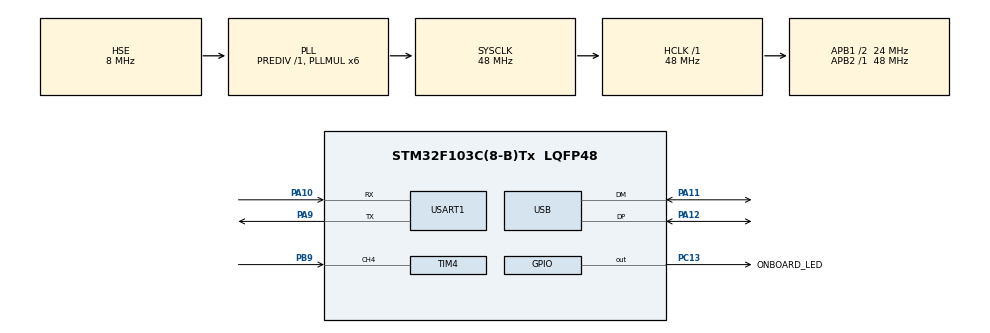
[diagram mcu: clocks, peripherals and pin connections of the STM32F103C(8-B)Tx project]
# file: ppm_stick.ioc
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Mcu.Family=STM32F1
Mcu.Name=STM32F103C(8-B)Tx
Mcu.Package=LQFP48
NVIC.PriorityGroup=NVIC_PRIORITYGROUP_4
NVIC.TIM4_IRQn=true\:0\:0\:false\:false\:true
NVIC.USB_LP_CAN1_RX0_IRQn=true\:0\:0\:false\:false\:true
PA10.Mode=Asynchronous
PA10.Signal=USART1_RX
PA11.Mode=Device
PA11.Signal=USB_DM
PA12.Mode=Device
PA12.Signal=USB_DP
PA13.Mode=Serial_Wire
PA13.Signal=SYS_JTMS-SWDIO
PA14.Mode=Serial_Wire
PA14.Signal=SYS_JTCK-SWCLK
PA9.Mode=Asynchronous
PA9.Signal=USART1_TX
PB9.Signal=S_TIM4_CH4
PC13-TAMPER-RTC.GPIO_Label=ONBOARD_LED
PC13-TAMPER-RTC.PinState=GPIO_PIN_SET
PC13-TAMPER-RTC.Signal=GPIO_Output
PD0-OSC_IN.Mode=HSE-External-Oscillator
PD0-OSC_IN.Signal=RCC_OSC_IN
PD1-OSC_OUT.Mode=HSE-External-Oscillator
PD1-OSC_OUT.Signal=RCC_OSC_OUT
ProjectManager.HeapSize=0x200
ProjectManager.StackSize=0x400
ProjectManager.TargetToolchain=SW4STM32
RCC.AHBFreq_Value=48000000
RCC.APB1CLKDivider=RCC_HCLK_DIV2
RCC.APB1Freq_Value=24000000
RCC.APB1TimFreq_Value=48000000
RCC.APB2Freq_Value=48000000
RCC.APB2TimFreq_Value=48000000
RCC.HCLKFreq_Value=48000000
RCC.PLLMUL=RCC_PLL_MUL6
RCC.PLLSourceVirtual=RCC_PLLSOURCE_HSE
RCC.SYSCLKFreq_VALUE=48000000
RCC.SYSCLKSource=RCC_SYSCLKSOURCE_PLLCLK
RCC.USBFreq_Value=48000000
SH.S_TIM4_CH4.0=TIM4_CH4,Input_Capture4_from_TI4
TIM4.Channel-Input_Capture4_from_TI4=TIM_CHANNEL_4
TIM4.ICPolarity_CH4=TIM_INPUTCHANNELPOLARITY_RISING
TIM4.Period=65535
TIM4.Prescaler=48
USART1.VirtualMode=VM_ASYNC
USB_DEVICE.CLASS_NAME_FS=HID
USB_DEVICE.VirtualMode=Hid
USB_DEVICE.VirtualModeFS=Hid_FS
VP_TIM4_VS_ClockSourceINT.Mode=Internal
VP_USB_DEVICE_VS_USB_DEVICE_HID_FS.Mode=HID_FS
board=ppm_stick

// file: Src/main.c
/**
  ******************************************************************************
  * File Name          : main.c
  * Description        : Main program body
  ******************************************************************************
  * This notice applies to any and all portions of this file
  * that are not between comment pairs USER CODE BEGIN and
  * USER CODE END. Other portions of this file, whether
  * inserted by the user or by software development tools
  * are owned by their respective copyright owners.
  *
  * Copyright (c) 2017 STMicroelectronics International N.V.
  * All rights reserved.
  *
  * Redistribution and use in source and binary forms, with or without
  * modification, are permitted, provided that the following conditions are met:
  *
  * 1. Redistribution of source code must retain the above copyright notice,
  *    this list of conditions and the following disclaimer.
  * 2. Redistributions in binary form must reproduce the above copyright notice,
  *    this list of conditions and the following disclaimer in the documentation
  *    and/or other materials provided with the distribution.
  * 3. Neither the name of STMicroelectronics nor the names of other
  *    contributors to this software may be used to endorse or promote products
  *    derived from this software without specific written permission.
  * 4. This software, including modifications and/or derivative works of this
  *    software, must execute solely and exclusively on microcontroller or
  *    microprocessor devices manufactured by or for STMicroelectronics.
  * 5. Redistribution and use of this software other than as permitted under
  *    this license is void and will automatically terminate your rights under
  *    this license.
  *
  * THIS SOFTWARE IS PROVIDED BY STMICROELECTRONICS AND CONTRIBUTORS "AS IS"
  * AND ANY EXPRESS, IMPLIED OR STATUTORY WARRANTIES, INCLUDING, BUT NOT
  * LIMITED TO, THE IMPLIED WARRANTIES OF MERCHANTABILITY, FITNESS FOR A
  * PARTICULAR PURPOSE AND NON-INFRINGEMENT OF THIRD PARTY INTELLECTUAL PROPERTY
  * RIGHTS ARE DISCLAIMED TO THE FULLEST EXTENT PERMITTED BY LAW. IN NO EVENT
  * SHALL STMICROELECTRONICS OR CONTRIBUTORS BE LIABLE FOR ANY DIRECT, INDIRECT,
  * INCIDENTAL, SPECIAL, EXEMPLARY, OR CONSEQUENTIAL DAMAGES (INCLUDING, BUT NOT
  * LIMITED TO, PROCUREMENT OF SUBSTITUTE GOODS OR SERVICES; LOSS OF USE, DATA,
  * OR PROFITS; OR BUSINESS INTERRUPTION) HOWEVER CAUSED AND ON ANY THEORY OF
  * LIABILITY, WHETHER IN CONTRACT, STRICT LIABILITY, OR TORT (INCLUDING
  * NEGLIGENCE OR OTHERWISE) ARISING IN ANY WAY OUT OF THE USE OF THIS SOFTWARE,
  * EVEN IF ADVISED OF THE POSSIBILITY OF SUCH DAMAGE.
  *
  ******************************************************************************
  */
#include "main.h"
#include "stm32f1xx_hal.h"
#include "usb_device.h"

/* USER CODE BEGIN Includes */
#include "usbd_hid.h"
/* USER CODE END Includes */

TIM_HandleTypeDef htim4;

UART_HandleTypeDef huart1;

/* USER CODE BEGIN PV */
/* Private variables ---------------------------------------------------------*/

/* USER CODE END PV */

void SystemClock_Config(void);
static void MX_GPIO_Init(void);
static void MX_TIM4_Init(void);
static void MX_USART1_UART_Init(void);

/* USER CODE BEGIN PFP */
/* Private function prototypes -----------------------------------------------*/

/* USER CODE END PFP */

/* USER CODE BEGIN 0 */

#define MAX_PPM_CHANNELS (8)
#define MAX_PULSE_WAIT_TIMEOUT_USEC (3000)

int ppm_channel_timing[MAX_PPM_CHANNELS] = { 0 };

// indicates the system is just booted up
int is_first_start = 1;
// indicates that the first channel pulse is found
int is_in_sync = 0;

int current_channel = 0 ;

void HAL_TIM_IC_CaptureCallback(TIM_HandleTypeDef *htim)
{
	if(htim->Instance == TIM4) {
		uint32_t usec = __HAL_TIM_GET_COMPARE(&htim4, TIM_CHANNEL_4);
		// on first start just resetting counter
		if(!is_first_start) {
			if(is_in_sync) {
				if(MAX_PULSE_WAIT_TIMEOUT_USEC <= usec) {
					current_channel = 0;
				}
				else {
					ppm_channel_timing[current_channel] = usec;
					current_channel++;
				}
			}
			else {// waiting for first pulse
				if(MAX_PULSE_WAIT_TIMEOUT_USEC <= usec) {
					is_in_sync = 1;
				}
			}
		}
		__HAL_TIM_SET_COUNTER(&htim4, 0);
		is_first_start = 0;
	}
}

// Adjust these values if the cursor in the computer jumps at the end points of sticks
// typically it should be 1000 and 2000
#define PPM_MIN (950)
#define PPM_MAX (2000)
#define HID_MAX_VALUE (255)

#define PPM_SCALE(X) ((X - PPM_MIN) * HID_MAX_VALUE / (PPM_MAX - PPM_MIN))

#define CHAN_X (3)
#define CHAN_Y (2)

#define CHAN_RX (0)
#define CHAN_Z (1)

struct gamepadHID_t {
    uint8_t x;
    uint8_t y;
    uint8_t z;
    uint8_t rx;
};

/* USER CODE END 0 */

int main(void)
{

  /* MCU Configuration----------------------------------------------------------*/

  /* Reset of all peripherals, Initializes the Flash interface and the Systick. */
  HAL_Init();

  /* Configure the system clock */
  SystemClock_Config();

  /* Initialize all configured peripherals */
  MX_GPIO_Init();
  MX_TIM4_Init();
  MX_USART1_UART_Init();
  MX_USB_DEVICE_Init();

  /* USER CODE BEGIN 2 */
  struct gamepadHID_t report = { 0 };

  HAL_TIM_IC_Start_IT(&htim4, TIM_CHANNEL_4);
  /* USER CODE END 2 */

  /* Infinite loop */
  /* USER CODE BEGIN WHILE */
  while (1)
  {

	  report.x = PPM_SCALE(ppm_channel_timing[CHAN_X]);
	  report.y = PPM_SCALE(ppm_channel_timing[CHAN_Y]);
	  report.z = PPM_SCALE(ppm_channel_timing[CHAN_Z]);
	  report.rx = PPM_SCALE(ppm_channel_timing[CHAN_RX]);

	  USBD_HID_SendReport(&hUsbDeviceFS, (uint8_t*)&report, sizeof(struct gamepadHID_t));
  /* USER CODE END WHILE */

  }

}

/** System Clock Configuration
*/
void SystemClock_Config(void)
{

  RCC_OscInitTypeDef RCC_OscInitStruct;
  RCC_ClkInitTypeDef RCC_ClkInitStruct;
  RCC_PeriphCLKInitTypeDef PeriphClkInit;

    /**Initializes the CPU, AHB and APB busses clocks
    */
  RCC_OscInitStruct.OscillatorType = RCC_OSCILLATORTYPE_HSE;
  RCC_OscInitStruct.HSEState = RCC_HSE_ON;
  RCC_OscInitStruct.HSEPredivValue = RCC_HSE_PREDIV_DIV1;
  RCC_OscInitStruct.HSIState = RCC_HSI_ON;
  RCC_OscInitStruct.PLL.PLLState = RCC_PLL_ON;
  RCC_OscInitStruct.PLL.PLLSource = RCC_PLLSOURCE_HSE;
  RCC_OscInitStruct.PLL.PLLMUL = RCC_PLL_MUL6;
  if (HAL_RCC_OscConfig(&RCC_OscInitStruct) != HAL_OK)
  {
    _Error_Handler(__FILE__, __LINE__);
  }

    /**Initializes the CPU, AHB and APB busses clocks
    */
  RCC_ClkInitStruct.ClockType = RCC_CLOCKTYPE_HCLK|RCC_CLOCKTYPE_SYSCLK
                              |RCC_CLOCKTYPE_PCLK1|RCC_CLOCKTYPE_PCLK2;
  RCC_ClkInitStruct.SYSCLKSource = RCC_SYSCLKSOURCE_PLLCLK;
  RCC_ClkInitStruct.AHBCLKDivider = RCC_SYSCLK_DIV1;
  RCC_ClkInitStruct.APB1CLKDivider = RCC_HCLK_DIV2;
  RCC_ClkInitStruct.APB2CLKDivider = RCC_HCLK_DIV1;

  if (HAL_RCC_ClockConfig(&RCC_ClkInitStruct, FLASH_LATENCY_1) != HAL_OK)
  {
    _Error_Handler(__FILE__, __LINE__);
  }

  PeriphClkInit.PeriphClockSelection = RCC_PERIPHCLK_USB;
  PeriphClkInit.UsbClockSelection = RCC_USBCLKSOURCE_PLL;
  if (HAL_RCCEx_PeriphCLKConfig(&PeriphClkInit) != HAL_OK)
  {
    _Error_Handler(__FILE__, __LINE__);
  }

    /**Configure the Systick interrupt time
    */
  HAL_SYSTICK_Config(HAL_RCC_GetHCLKFreq()/1000);

    /**Configure the Systick
    */
  HAL_SYSTICK_CLKSourceConfig(SYSTICK_CLKSOURCE_HCLK);

  /* SysTick_IRQn interrupt configuration */
  HAL_NVIC_SetPriority(SysTick_IRQn, 0, 0);
}

/* TIM4 init function */
static void MX_TIM4_Init(void)
{

  TIM_ClockConfigTypeDef sClockSourceConfig;
  TIM_MasterConfigTypeDef sMasterConfig;
  TIM_IC_InitTypeDef sConfigIC;

  htim4.Instance = TIM4;
  htim4.Init.Prescaler = 48;
  htim4.Init.CounterMode = TIM_COUNTERMODE_UP;
  htim4.Init.Period = 65535;
  htim4.Init.ClockDivision = TIM_CLOCKDIVISION_DIV1;
  if (HAL_TIM_Base_Init(&htim4) != HAL_OK)
  {
    _Error_Handler(__FILE__, __LINE__);
  }

  sClockSourceConfig.ClockSource = TIM_CLOCKSOURCE_INTERNAL;
  if (HAL_TIM_ConfigClockSource(&htim4, &sClockSourceConfig) != HAL_OK)
  {
    _Error_Handler(__FILE__, __LINE__);
  }

  if (HAL_TIM_IC_Init(&htim4) != HAL_OK)
  {
    _Error_Handler(__FILE__, __LINE__);
  }

  sMasterConfig.MasterOutputTrigger = TIM_TRGO_RESET;
  sMasterConfig.MasterSlaveMode = TIM_MASTERSLAVEMODE_DISABLE;
  if (HAL_TIMEx_MasterConfigSynchronization(&htim4, &sMasterConfig) != HAL_OK)
  {
    _Error_Handler(__FILE__, __LINE__);
  }

  sConfigIC.ICPolarity = TIM_INPUTCHANNELPOLARITY_RISING;
  sConfigIC.ICSelection = TIM_ICSELECTION_DIRECTTI;
  sConfigIC.ICPrescaler = TIM_ICPSC_DIV1;
  sConfigIC.ICFilter = 0;
  if (HAL_TIM_IC_ConfigChannel(&htim4, &sConfigIC, TIM_CHANNEL_4) != HAL_OK)
  {
    _Error_Handler(__FILE__, __LINE__);
  }

}

/* USART1 init function */
static void MX_USART1_UART_Init(void)
{

  huart1.Instance = USART1;
  huart1.Init.BaudRate = 115200;
  huart1.Init.WordLength = UART_WORDLENGTH_8B;
  huart1.Init.StopBits = UART_STOPBITS_1;
  huart1.Init.Parity = UART_PARITY_NONE;
  huart1.Init.Mode = UART_MODE_TX_RX;
  huart1.Init.HwFlowCtl = UART_HWCONTROL_NONE;
  huart1.Init.OverSampling = UART_OVERSAMPLING_16;
  if (HAL_UART_Init(&huart1) != HAL_OK)
  {
    _Error_Handler(__FILE__, __LINE__);
  }

}

/** Configure pins as
        * Analog
        * Input
        * Output
        * EVENT_OUT
        * EXTI
*/
static void MX_GPIO_Init(void)
{

  GPIO_InitTypeDef GPIO_InitStruct;

  /* GPIO Ports Clock Enable */
  __HAL_RCC_GPIOC_CLK_ENABLE();
  __HAL_RCC_GPIOD_CLK_ENABLE();
  __HAL_RCC_GPIOA_CLK_ENABLE();
  __HAL_RCC_GPIOB_CLK_ENABLE();

  /*Configure GPIO pin Output Level */
  HAL_GPIO_WritePin(ONBOARD_LED_GPIO_Port, ONBOARD_LED_Pin, GPIO_PIN_SET);

  /*Configure GPIO pin : ONBOARD_LED_Pin */
  GPIO_InitStruct.Pin = ONBOARD_LED_Pin;
  GPIO_InitStruct.Mode = GPIO_MODE_OUTPUT_PP;
  GPIO_InitStruct.Speed = GPIO_SPEED_FREQ_LOW;
  HAL_GPIO_Init(ONBOARD_LED_GPIO_Port, &GPIO_InitStruct);

}

void _Error_Handler(char * file, int line)
{
  while(1)
  {
  }
}

/************************ (C) COPYRIGHT STMicroelectronics *****END OF FILE****/
